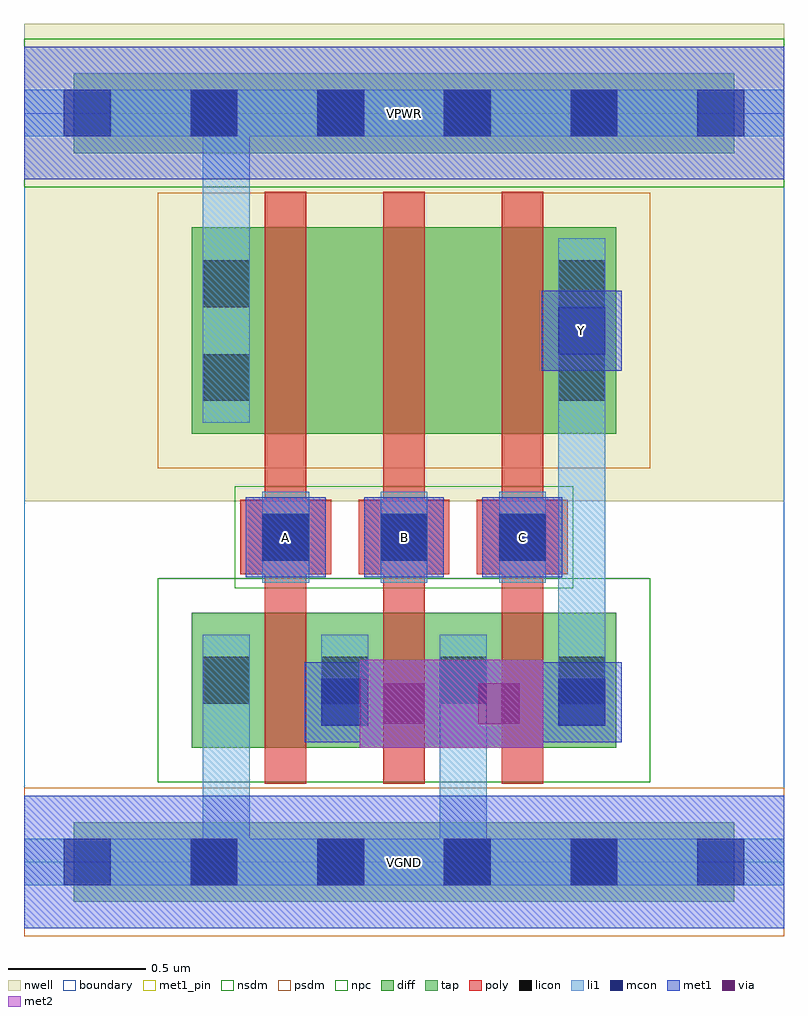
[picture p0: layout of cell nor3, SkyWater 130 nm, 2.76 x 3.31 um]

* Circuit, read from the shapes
.subckt nor3 A B C VGND VPWR Y
XM1 Y A VGND VGND sky130_fd_pr__nfet_01v8 w=0.49 l=0.15
XM2 VGND B Y VGND sky130_fd_pr__nfet_01v8 w=0.49 l=0.15
XM3 Y C VGND VGND sky130_fd_pr__nfet_01v8 w=0.49 l=0.15
XM4 n1 A VPWR VPWR sky130_fd_pr__pfet_01v8 w=0.75 l=0.15
XM5 n2 B n1 VPWR sky130_fd_pr__pfet_01v8 w=0.75 l=0.15
XM6 Y C n2 VPWR sky130_fd_pr__pfet_01v8 w=0.75 l=0.15
.ends

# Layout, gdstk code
import gdstk
lib = gdstk.Library(unit=1e-6, precision=1e-09)
def R(c, l, rs):  # rectangles x0, y0, x1, y1
    for r in rs: c.add(gdstk.rectangle(r[:2], r[2:], *l))
def A(c, l, x, y, w, h, nx, ny, dx, dy):  # array of equal rectangles
    R(c, l, [(x+i*dx, y+j*dy, x+i*dx+w, y+j*dy+h) for i in range(nx) for j in range(ny)])
nwell = (64, 20)
diff = (65, 20)
tap = (65, 44)
poly = (66, 20)
licon = (66, 44)
li1 = (67, 20)
mcon = (67, 44)
met1_pin = (68, 16)
met1 = (68, 20)
via = (68, 44)
met2 = (69, 20)
nsdm = (93, 44)
psdm = (94, 20)
npc = (95, 20)
boundary = (235, 4)

nor3 = lib.new_cell('nor3')
R(nor3, nwell, [(0,1.31,2.76,3.045)])
R(nor3, diff, [(0.61,0.415,2.15,0.905), (0.61,1.555,2.15,2.305)])
R(nor3, tap, [(0.18,-0.145,2.58,0.145), (0.18,2.575,2.58,2.865)])
A(nor3, poly, 0.875, 0.285, 0.15, 2.15, 3, 1, 0.43, 0)
A(nor3, poly, 0.785, 1.045, 0.33, 0.27, 3, 1, 0.43, 0)
A(nor3, licon, 0.605, -0.085, 0.17, 0.17, 4, 2, 0.46, 2.72)
A(nor3, licon, 0.65, 0.575, 0.17, 0.17, 4, 1, 0.43, 0)
A(nor3, licon, 0.865, 1.095, 0.17, 0.17, 3, 1, 0.43, 0)
R(nor3, licon, [(0.65,1.675,0.82,1.845), (1.94,1.675,2.11,1.845), (0.65,2.015,0.82,2.185), (1.94,2.015,2.11,2.185)])
A(nor3, li1, 0.65, 0.495, 0.17, 0.33, 4, 1, 0.43, 0)
A(nor3, li1, 0.865, 1.015, 0.17, 0.33, 3, 1, 0.43, 0)
R(nor3, li1, [(0,-0.085,2.76,0.085), (0.65,-0.085,0.82,0.825), (1.51,-0.085,1.68,0.825), (1.94,0.495,2.11,2.265), (0.65,1.595,0.82,2.265), (0.65,1.595,0.82,2.805), (1.94,1.595,2.11,2.265), (0,2.635,2.76,2.805)])
A(nor3, mcon, 0.145, -0.085, 0.17, 0.17, 6, 2, 0.46, 2.72)
A(nor3, mcon, 0.865, 1.095, 0.17, 0.17, 3, 1, 0.43, 0)
R(nor3, mcon, [(1.08,0.495,1.25,0.665), (1.94,0.495,2.11,0.665), (1.94,1.845,2.11,2.015)])
A(nor3, met1_pin, 0.805, 1.035, 0.29, 0.29, 3, 1, 0.43, 0)
R(nor3, met1_pin, [(0,-0.24,2.76,0.24), (1.88,1.785,2.17,2.075), (0,2.48,2.76,2.96)])
A(nor3, met1, 0.805, 1.035, 0.29, 0.29, 3, 1, 0.43, 0)
R(nor3, met1, [(0,-0.24,2.76,0.24), (1.22,0.415,1.54,0.735), (1.54,0.415,1.565,0.735), (1.54,0.415,1.565,0.735), (1.54,0.415,1.565,0.735), (1.54,0.415,1.565,0.735), (1.54,0.415,1.565,0.735), (1.54,0.415,1.565,0.735), (1.565,0.415,1.885,0.735), (1.02,0.435,1.31,0.725), (1.88,0.435,2.17,0.725), (1.195,0.505,1.45,0.645), (1.195,0.505,1.335,0.65), (1.31,0.505,1.335,0.645), (1.31,0.505,1.335,0.645), (1.31,0.505,1.335,0.645), (1.31,0.505,1.335,0.645), (1.31,0.505,1.335,0.645), (1.31,0.505,1.335,0.645), (1.31,0.505,1.335,0.645), (1.31,0.505,1.335,0.645), (1.335,0.505,1.45,0.645), (1.335,0.505,1.45,0.645), (1.335,0.505,1.45,0.645), (1.335,0.505,1.45,0.645), (1.335,0.505,1.45,0.645), (1.335,0.505,1.45,0.645), (1.335,0.505,1.45,0.645), (1.335,0.505,1.45,0.645), (1.335,0.505,1.45,0.645), (1.335,0.505,1.45,0.645), (1.335,0.505,1.45,0.645), (1.335,0.505,1.45,0.645), (1.335,0.505,1.45,0.645), (1.335,0.505,1.45,0.645), (1.335,0.505,1.45,0.645), (1.335,0.505,1.45,0.645), (1.335,0.505,1.45,0.645), (1.335,0.505,1.45,0.645), (1.335,0.505,1.45,0.645), (1.335,0.505,1.45,0.645), (1.335,0.505,1.45,0.645), (1.335,0.505,1.45,0.645), (1.335,0.505,1.45,0.645), (1.335,0.505,1.45,0.645), (1.335,0.505,1.45,0.645), (1.335,0.505,1.45,0.645), (1.335,0.505,1.45,0.645), (1.335,0.505,1.45,0.645), (1.45,0.505,1.565,0.645), (1.45,0.505,1.565,0.645), (1.45,0.505,1.565,0.645), (1.45,0.505,1.565,0.645), (1.45,0.505,1.565,0.645), (1.45,0.505,1.565,0.645), (1.45,0.505,1.565,0.645), (1.45,0.505,1.565,0.645), (1.45,0.505,1.565,0.645), (1.45,0.505,1.565,0.645), (1.45,0.505,1.565,0.645), (1.45,0.505,1.565,0.645), (1.45,0.505,1.565,0.645), (1.45,0.505,1.565,0.645), (1.45,0.505,1.565,0.645), (1.45,0.505,1.565,0.645), (1.45,0.505,1.565,0.645), (1.45,0.505,1.565,0.645), (1.45,0.505,1.565,0.645), (1.45,0.505,1.565,0.645), (1.45,0.505,1.565,0.645), (1.45,0.505,1.565,0.645), (1.45,0.505,1.565,0.645), (1.45,0.505,1.565,0.645), (1.45,0.505,1.565,0.645), (1.45,0.505,1.565,0.645), (1.45,0.505,1.565,0.645), (1.45,0.505,1.565,0.645), (1.45,0.505,1.565,0.645), (1.45,0.505,1.565,0.645), (1.45,0.505,1.565,0.645), (1.45,0.505,1.565,0.645), (1.45,0.505,1.565,0.645), (1.45,0.505,1.565,0.645), (1.45,0.505,1.565,0.645), (1.45,0.505,1.565,0.645), (1.45,0.505,1.565,0.645), (1.45,0.505,1.565,0.645), (1.45,0.505,1.565,0.645), (1.45,0.505,1.565,0.645), (1.45,0.505,1.565,0.645), (1.45,0.505,1.565,0.645), (1.45,0.505,1.565,0.645), (1.45,0.505,1.565,0.645), (1.45,0.505,1.565,0.645), (1.45,0.505,1.565,0.645), (1.45,0.505,1.565,0.645), (1.45,0.505,1.565,0.645), (1.45,0.505,1.565,0.645), (1.45,0.505,1.565,0.645), (1.45,0.505,1.565,0.645), (1.45,0.505,1.565,0.645), (1.45,0.505,1.565,0.645), (1.45,0.505,1.565,0.645), (1.45,0.505,1.565,0.645), (1.45,0.505,1.565,0.645), (1.45,0.505,1.565,0.645), (1.45,0.505,1.565,0.645), (1.45,0.505,1.565,0.645), (1.45,0.505,1.565,0.645), (1.45,0.505,1.565,0.645), (1.45,0.505,1.565,0.645), (1.45,0.505,1.565,0.645), (1.45,0.505,1.565,0.645), (1.45,0.505,1.565,0.645), (1.45,0.505,1.565,0.645), (1.45,0.505,1.565,0.645), (1.45,0.505,1.565,0.645), (1.45,0.505,1.565,0.645), (1.45,0.505,1.565,0.645), (1.45,0.505,1.565,0.645), (1.45,0.505,1.565,0.645), (1.45,0.505,1.565,0.645), (1.45,0.505,1.565,0.645), (1.45,0.505,1.565,0.645), (1.45,0.505,1.565,0.645), (1.45,0.505,1.565,0.645), (1.45,0.505,1.565,0.645), (1.45,0.505,1.565,0.645), (1.45,0.505,1.565,0.645), (1.45,0.505,1.565,0.645), (1.45,0.505,1.565,0.645), (1.45,0.505,1.565,0.645), (1.45,0.505,1.565,0.645), (1.45,0.505,1.565,0.645), (1.45,0.505,1.565,0.645), (1.45,0.505,1.565,0.645), (1.45,0.505,1.565,0.645), (1.45,0.505,1.565,0.645), (1.45,0.505,1.565,0.645), (1.45,0.505,1.565,0.645), (1.45,0.505,1.565,0.645), (1.45,0.505,1.565,0.645), (1.45,0.505,1.565,0.645), (1.45,0.505,1.54,0.645), (1.45,0.505,1.54,0.645), (1.45,0.505,1.54,0.645), (1.45,0.505,1.54,0.645), (1.45,0.505,1.54,0.645), (1.45,0.505,1.54,0.645), (1.45,0.505,1.54,0.645), (1.45,0.505,1.54,0.645), (1.45,0.505,1.54,0.645), (1.45,0.505,1.54,0.645), (1.45,0.505,1.54,0.645), (1.45,0.505,1.54,0.645), (1.45,0.505,1.54,0.645), (1.45,0.505,1.54,0.645), (1.45,0.505,1.54,0.645), (1.45,0.505,1.54,0.645), (1.45,0.505,1.54,0.645), (1.45,0.505,1.54,0.645), (1.45,0.505,1.54,0.645), (1.45,0.505,1.54,0.645), (1.45,0.505,1.54,0.645), (1.45,0.505,1.54,0.645), (1.45,0.505,1.54,0.645), (1.45,0.505,1.54,0.645), (1.45,0.505,1.54,0.645), (1.45,0.505,1.54,0.645), (1.45,0.505,1.54,0.645), (1.45,0.505,1.54,0.645), (1.45,0.505,1.54,0.645), (1.45,0.505,1.54,0.645), (1.45,0.505,1.54,0.645), (1.45,0.505,1.54,0.645), (1.45,0.505,1.54,0.645), (1.45,0.505,1.54,0.645), (1.45,0.505,1.54,0.645), (1.45,0.505,1.54,0.645), (1.45,0.505,1.54,0.645), (1.45,0.505,1.54,0.645), (1.45,0.505,1.54,0.645), (1.45,0.505,1.54,0.645), (1.45,0.505,1.54,0.645), (1.45,0.505,1.54,0.645), (1.45,0.505,1.54,0.645), (1.45,0.505,1.54,0.645), (1.45,0.505,1.54,0.645), (1.45,0.505,1.54,0.645), (1.45,0.505,1.54,0.645), (1.45,0.505,1.54,0.645), (1.45,0.505,1.54,0.645), (1.45,0.505,1.54,0.645), (1.45,0.505,1.54,0.645), (1.45,0.505,1.54,0.645), (1.45,0.505,1.54,0.645), (1.45,0.505,1.54,0.645), (1.45,0.505,1.54,0.645), (1.45,0.505,1.54,0.645), (1.45,0.505,1.54,0.645), (1.45,0.505,1.54,0.645), (1.45,0.505,1.54,0.645), (1.45,0.505,1.54,0.645), (1.45,0.505,1.54,0.645), (1.45,0.505,1.54,0.645), (1.45,0.505,1.54,0.645), (1.45,0.505,1.54,0.645), (1.45,0.505,1.54,0.645), (1.45,0.505,1.54,0.645), (1.45,0.505,1.54,0.645), (1.45,0.505,1.54,0.645), (1.45,0.505,1.54,0.645), (1.45,0.505,1.54,0.645), (1.45,0.505,1.54,0.645), (1.45,0.505,1.54,0.645), (1.45,0.505,1.54,0.645), (1.45,0.505,1.54,0.645), (1.45,0.505,1.54,0.645), (1.45,0.505,1.54,0.645), (1.45,0.505,1.54,0.645), (1.45,0.505,1.54,0.645), (1.45,0.505,1.54,0.645), (1.45,0.505,1.54,0.645), (1.45,0.505,1.54,0.645), (1.45,0.505,1.54,0.645), (1.45,0.505,1.54,0.645), (1.45,0.505,1.54,0.645), (1.45,0.505,1.54,0.645), (1.45,0.505,1.54,0.645), (1.45,0.505,1.54,0.645), (1.45,0.505,1.54,0.645), (1.54,0.505,1.655,0.645), (1.54,0.505,1.655,0.645), (1.54,0.505,1.655,0.645), (1.54,0.505,1.655,0.645), (1.54,0.505,1.655,0.645), (1.54,0.505,1.655,0.645), (1.54,0.505,1.655,0.645), (1.54,0.505,1.655,0.645), (1.54,0.505,1.655,0.645), (1.54,0.505,1.655,0.645), (1.54,0.505,1.655,0.645), (1.54,0.505,1.655,0.645), (1.54,0.505,1.655,0.645), (1.54,0.505,1.655,0.645), (1.54,0.505,1.655,0.645), (1.54,0.505,1.655,0.645), (1.54,0.505,1.655,0.645), (1.54,0.505,1.655,0.645), (1.54,0.505,1.655,0.645), (1.54,0.505,1.655,0.645), (1.54,0.505,1.655,0.645), (1.54,0.505,1.655,0.645), (1.54,0.505,1.655,0.645), (1.54,0.505,1.655,0.645), (1.54,0.505,1.655,0.645), (1.54,0.505,1.655,0.645), (1.54,0.505,1.655,0.645), (1.54,0.505,1.655,0.645), (1.54,0.505,1.655,0.645), (1.54,0.505,1.655,0.645), (1.54,0.505,1.655,0.645), (1.54,0.505,1.655,0.645), (1.54,0.505,1.655,0.645), (1.54,0.505,1.655,0.645), (1.54,0.505,1.655,0.645), (1.54,0.505,1.655,0.645), (1.54,0.505,1.655,0.645), (1.54,0.505,1.655,0.645), (1.54,0.505,1.655,0.645), (1.54,0.505,1.655,0.645), (1.54,0.505,1.655,0.645), (1.54,0.505,1.655,0.645), (1.54,0.505,1.655,0.645), (1.54,0.505,1.655,0.645), (1.54,0.505,1.655,0.645), (1.54,0.505,1.655,0.645), (1.54,0.505,1.655,0.645), (1.54,0.505,1.655,0.645), (1.54,0.505,1.655,0.645), (1.54,0.505,1.655,0.645), (1.54,0.505,1.655,0.645), (1.54,0.505,1.655,0.645), (1.54,0.505,1.655,0.645), (1.54,0.505,1.655,0.645), (1.54,0.505,1.655,0.645), (1.54,0.505,1.655,0.645), (1.54,0.505,1.655,0.645), (1.54,0.505,1.655,0.645), (1.54,0.505,1.655,0.645), (1.54,0.505,1.655,0.645), (1.54,0.505,1.655,0.645), (1.54,0.505,1.655,0.645), (1.54,0.505,1.655,0.645), (1.54,0.505,1.655,0.645), (1.54,0.505,1.655,0.645), (1.54,0.505,1.655,0.645), (1.54,0.505,1.655,0.645), (1.54,0.505,1.655,0.645), (1.54,0.505,1.655,0.645), (1.54,0.505,1.655,0.645), (1.54,0.505,1.655,0.645), (1.54,0.505,1.655,0.645), (1.54,0.505,1.655,0.645), (1.54,0.505,1.655,0.645), (1.54,0.505,1.655,0.645), (1.54,0.505,1.655,0.645), (1.54,0.505,1.655,0.645), (1.54,0.505,1.655,0.645), (1.54,0.505,1.655,0.645), (1.54,0.505,1.655,0.645), (1.54,0.505,1.655,0.645), (1.54,0.505,1.655,0.645), (1.54,0.505,1.655,0.645), (1.54,0.505,1.655,0.645), (1.54,0.505,1.655,0.645), (1.54,0.505,1.655,0.645), (1.54,0.505,1.655,0.645), (1.54,0.505,1.655,0.645), (1.54,0.505,1.655,0.645), (1.54,0.505,1.655,0.645), (1.54,0.505,1.655,0.645), (1.54,0.505,1.655,0.645), (1.54,0.505,1.655,0.645), (1.54,0.505,1.655,0.645), (1.54,0.505,1.565,0.645), (1.54,0.505,1.565,0.645), (1.54,0.505,1.565,0.645), (1.54,0.505,1.565,0.645), (1.54,0.505,1.565,0.645), (1.54,0.505,1.565,0.645), (1.54,0.505,1.565,0.645), (1.54,0.505,1.565,0.645), (1.54,0.505,1.565,0.645), (1.54,0.505,1.565,0.645), (1.54,0.505,1.565,0.645), (1.54,0.505,1.565,0.645), (1.54,0.505,1.565,0.645), (1.54,0.505,1.565,0.645), (1.54,0.505,1.565,0.645), (1.54,0.505,1.565,0.645), (1.54,0.505,1.565,0.645), (1.54,0.505,1.565,0.645), (1.54,0.505,1.565,0.645), (1.54,0.505,1.565,0.645), (1.54,0.505,1.565,0.645), (1.54,0.505,1.565,0.645), (1.54,0.505,1.565,0.645), (1.54,0.505,1.565,0.645), (1.54,0.505,1.565,0.645), (1.54,0.505,1.565,0.645), (1.54,0.505,1.565,0.645), (1.54,0.505,1.565,0.645), (1.54,0.505,1.565,0.645), (1.54,0.505,1.565,0.645), (1.54,0.505,1.565,0.645), (1.54,0.505,1.565,0.645), (1.54,0.505,1.565,0.645), (1.54,0.505,1.565,0.645), (1.54,0.505,1.565,0.645), (1.54,0.505,1.565,0.645), (1.54,0.505,1.565,0.645), (1.54,0.505,1.565,0.645), (1.54,0.505,1.565,0.645), (1.54,0.505,1.565,0.645), (1.54,0.505,1.565,0.645), (1.54,0.505,1.565,0.645), (1.54,0.505,1.565,0.645), (1.54,0.505,1.565,0.645), (1.54,0.505,1.565,0.645), (1.54,0.505,1.565,0.645), (1.54,0.505,1.565,0.645), (1.54,0.505,1.565,0.645), (1.54,0.505,1.565,0.645), (1.54,0.505,1.565,0.645), (1.54,0.505,1.565,0.645), (1.54,0.505,1.565,0.645), (1.54,0.505,1.565,0.645), (1.54,0.505,1.565,0.645), (1.54,0.505,1.565,0.645), (1.54,0.505,1.565,0.645), (1.54,0.505,1.565,0.645), (1.54,0.505,1.565,0.645), (1.54,0.505,1.565,0.645), (1.54,0.505,1.565,0.645), (1.54,0.505,1.565,0.645), (1.54,0.505,1.565,0.645), (1.54,0.505,1.565,0.645), (1.54,0.505,1.565,0.645), (1.54,0.505,1.565,0.645), (1.54,0.505,1.565,0.645), (1.54,0.505,1.565,0.645), (1.54,0.505,1.565,0.645), (1.54,0.505,1.565,0.645), (1.54,0.505,1.565,0.645), (1.54,0.505,1.565,0.645), (1.54,0.505,1.565,0.645), (1.54,0.505,1.565,0.645), (1.54,0.505,1.565,0.645), (1.54,0.505,1.565,0.645), (1.54,0.505,1.565,0.645), (1.54,0.505,1.565,0.645), (1.54,0.505,1.565,0.645), (1.54,0.505,1.565,0.645), (1.54,0.505,1.565,0.645), (1.54,0.505,1.565,0.645), (1.54,0.505,1.565,0.645), (1.54,0.505,1.565,0.645), (1.54,0.505,1.565,0.645), (1.54,0.505,1.565,0.645), (1.54,0.505,1.565,0.645), (1.54,0.505,1.565,0.645), (1.54,0.505,1.565,0.645), (1.54,0.505,1.565,0.645), (1.54,0.505,1.565,0.645), (1.54,0.505,1.565,0.645), (1.54,0.505,1.565,0.645), (1.54,0.505,1.565,0.645), (1.54,0.505,1.565,0.645), (1.54,0.505,1.565,0.645), (1.54,0.505,1.565,0.645), (1.54,0.505,1.565,0.645), (1.54,0.505,1.565,0.645), (1.54,0.505,1.565,0.645), (1.54,0.505,1.565,0.645), (1.54,0.505,1.565,0.645), (1.54,0.505,1.565,0.645), (1.54,0.505,1.565,0.645), (1.54,0.505,1.565,0.645), (1.54,0.505,1.565,0.645), (1.54,0.505,1.565,0.645), (1.54,0.505,1.565,0.645), (1.54,0.505,1.565,0.645), (1.54,0.505,1.565,0.645), (1.54,0.505,1.565,0.645), (1.54,0.505,1.565,0.645), (1.54,0.505,1.565,0.645), (1.54,0.505,1.565,0.645), (1.54,0.505,1.565,0.645), (1.54,0.505,1.565,0.645), (1.54,0.505,1.565,0.645), (1.54,0.505,1.565,0.645), (1.54,0.505,1.565,0.645), (1.54,0.505,1.565,0.645), (1.54,0.505,1.565,0.645), (1.54,0.505,1.565,0.645), (1.54,0.505,1.565,0.645), (1.54,0.505,1.565,0.645), (1.54,0.505,1.565,0.645), (1.54,0.505,1.565,0.645), (1.54,0.505,1.565,0.645), (1.54,0.505,1.565,0.645), (1.54,0.505,1.565,0.645), (1.54,0.505,1.565,0.645), (1.54,0.505,1.565,0.645), (1.54,0.505,1.565,0.645), (1.54,0.505,1.565,0.645), (1.54,0.505,1.565,0.645), (1.54,0.505,1.565,0.645), (1.54,0.505,1.565,0.645), (1.54,0.505,1.565,0.645), (1.54,0.505,1.565,0.645), (1.54,0.505,1.565,0.645), (1.54,0.505,1.565,0.645), (1.54,0.505,1.565,0.645), (1.54,0.505,1.565,0.645), (1.54,0.505,1.565,0.645), (1.54,0.505,1.565,0.645), (1.54,0.505,1.565,0.645), (1.54,0.505,1.565,0.645), (1.54,0.505,1.565,0.645), (1.54,0.505,1.565,0.645), (1.54,0.505,1.565,0.645), (1.54,0.505,1.565,0.645), (1.54,0.505,1.565,0.645), (1.54,0.505,1.565,0.645), (1.54,0.505,1.565,0.645), (1.54,0.505,1.565,0.645), (1.54,0.505,1.565,0.645), (1.54,0.505,1.565,0.645), (1.54,0.505,1.565,0.645), (1.54,0.505,1.565,0.645), (1.54,0.505,1.565,0.645), (1.54,0.505,1.565,0.645), (1.54,0.505,1.565,0.645), (1.565,0.505,1.655,0.645), (1.565,0.505,1.655,0.645), (1.565,0.505,1.655,0.645), (1.565,0.505,1.655,0.645), (1.565,0.505,1.655,0.645), (1.565,0.505,1.655,0.645), (1.565,0.505,1.655,0.645), (1.565,0.505,1.655,0.645), (1.565,0.505,1.655,0.645), (1.565,0.505,1.655,0.645), (1.565,0.505,1.655,0.645), (1.565,0.505,1.655,0.645), (1.565,0.505,1.655,0.645), (1.565,0.505,1.655,0.645), (1.565,0.505,1.655,0.645), (1.565,0.505,1.655,0.645), (1.565,0.505,1.655,0.645), (1.565,0.505,1.655,0.645), (1.565,0.505,1.655,0.645), (1.565,0.505,1.655,0.645), (1.565,0.505,1.655,0.645), (1.565,0.505,1.655,0.645), (1.565,0.505,1.655,0.645), (1.565,0.505,1.655,0.645), (1.565,0.505,1.655,0.645), (1.565,0.505,1.655,0.645), (1.565,0.505,1.655,0.645), (1.565,0.505,1.655,0.645), (1.565,0.505,1.655,0.645), (1.565,0.505,1.655,0.645), (1.565,0.505,1.655,0.645), (1.565,0.505,1.655,0.645), (1.565,0.505,1.655,0.645), (1.565,0.505,1.655,0.645), (1.565,0.505,1.655,0.645), (1.565,0.505,1.655,0.645), (1.565,0.505,1.655,0.645), (1.565,0.505,1.655,0.645), (1.565,0.505,1.655,0.645), (1.565,0.505,1.655,0.645), (1.565,0.505,1.655,0.645), (1.565,0.505,1.655,0.645), (1.565,0.505,1.655,0.645), (1.565,0.505,1.655,0.645), (1.565,0.505,1.655,0.645), (1.565,0.505,1.655,0.645), (1.565,0.505,1.655,0.645), (1.565,0.505,1.655,0.645), (1.565,0.505,1.655,0.645), (1.565,0.505,1.655,0.645), (1.565,0.505,1.655,0.645), (1.565,0.505,1.655,0.645), (1.565,0.505,1.655,0.645), (1.565,0.505,1.655,0.645), (1.565,0.505,1.655,0.645), (1.565,0.505,1.655,0.645), (1.565,0.505,1.655,0.645), (1.565,0.505,1.655,0.645), (1.565,0.505,1.655,0.645), (1.565,0.505,1.655,0.645), (1.565,0.505,1.655,0.645), (1.565,0.505,1.655,0.645), (1.565,0.505,1.655,0.645), (1.565,0.505,1.655,0.645), (1.565,0.505,1.655,0.645), (1.565,0.505,1.655,0.645), (1.565,0.505,1.655,0.645), (1.565,0.505,1.655,0.645), (1.565,0.505,1.655,0.645), (1.565,0.505,1.655,0.645), (1.565,0.505,1.655,0.645), (1.565,0.505,1.655,0.645), (1.565,0.505,1.655,0.645), (1.565,0.505,1.655,0.645), (1.565,0.505,1.655,0.645), (1.565,0.505,1.655,0.645), (1.565,0.505,1.655,0.645), (1.565,0.505,1.655,0.645), (1.565,0.505,1.655,0.645), (1.565,0.505,1.655,0.645), (1.565,0.505,1.655,0.645), (1.565,0.505,1.655,0.645), (1.565,0.505,1.655,0.645), (1.565,0.505,1.655,0.645), (1.565,0.505,1.655,0.645), (1.565,0.505,1.655,0.645), (1.565,0.505,1.655,0.645), (1.565,0.505,1.655,0.645), (1.655,0.505,1.91,0.645), (1.655,0.505,1.77,0.645), (1.655,0.505,1.77,0.645), (1.655,0.505,1.77,0.645), (1.655,0.505,1.77,0.645), (1.655,0.505,1.77,0.645), (1.655,0.505,1.77,0.645), (1.655,0.505,1.77,0.645), (1.655,0.505,1.77,0.645), (1.655,0.505,1.77,0.645), (1.655,0.505,1.77,0.645), (1.655,0.505,1.77,0.645), (1.655,0.505,1.77,0.645), (1.655,0.505,1.77,0.645), (1.655,0.505,1.77,0.645), (1.655,0.505,1.77,0.645), (1.655,0.505,1.77,0.645), (1.655,0.505,1.77,0.645), (1.655,0.505,1.77,0.645), (1.655,0.505,1.77,0.645), (1.655,0.505,1.77,0.645), (1.655,0.505,1.77,0.645), (1.655,0.505,1.77,0.645), (1.655,0.505,1.77,0.645), (1.655,0.505,1.77,0.645), (1.655,0.505,1.77,0.645), (1.655,0.505,1.77,0.645), (1.655,0.505,1.77,0.645), (1.655,0.505,1.77,0.645), (1.77,0.505,1.91,0.65), (1.77,0.505,1.88,0.645), (1.77,0.505,1.88,0.645), (1.77,0.505,1.88,0.645), (1.77,0.505,1.88,0.645), (1.77,0.505,1.88,0.645), (1.77,0.505,1.88,0.645), (1.77,0.505,1.88,0.645), (1.77,0.505,1.88,0.645), (1.095,0.51,1.335,0.65), (1.31,0.51,1.335,0.645), (1.31,0.51,1.335,0.645), (1.31,0.51,1.335,0.645), (1.31,0.51,1.335,0.645), (1.31,0.51,1.335,0.645), (1.31,0.51,1.335,0.645), (1.31,0.51,1.335,0.645), (1.31,0.51,1.335,0.645), (1.335,0.51,1.45,0.645), (1.335,0.51,1.45,0.645), (1.335,0.51,1.45,0.645), (1.335,0.51,1.45,0.645), (1.335,0.51,1.45,0.645), (1.335,0.51,1.45,0.645), (1.335,0.51,1.45,0.645), (1.335,0.51,1.45,0.645), (1.335,0.51,1.45,0.645), (1.335,0.51,1.45,0.645), (1.335,0.51,1.45,0.645), (1.335,0.51,1.45,0.645), (1.335,0.51,1.45,0.645), (1.335,0.51,1.45,0.645), (1.335,0.51,1.45,0.645), (1.335,0.51,1.45,0.645), (1.335,0.51,1.45,0.645), (1.335,0.51,1.45,0.645), (1.335,0.51,1.45,0.645), (1.335,0.51,1.45,0.645), (1.335,0.51,1.45,0.645), (1.335,0.51,1.45,0.645), (1.335,0.51,1.45,0.645), (1.335,0.51,1.45,0.645), (1.335,0.51,1.45,0.645), (1.335,0.51,1.45,0.645), (1.335,0.51,1.45,0.645), (1.335,0.51,1.45,0.645), (1.45,0.51,1.565,0.645), (1.45,0.51,1.565,0.645), (1.45,0.51,1.565,0.645), (1.45,0.51,1.565,0.645), (1.45,0.51,1.565,0.645), (1.45,0.51,1.565,0.645), (1.45,0.51,1.565,0.645), (1.45,0.51,1.565,0.645), (1.45,0.51,1.565,0.645), (1.45,0.51,1.565,0.645), (1.45,0.51,1.565,0.645), (1.45,0.51,1.565,0.645), (1.45,0.51,1.565,0.645), (1.45,0.51,1.565,0.645), (1.45,0.51,1.565,0.645), (1.45,0.51,1.565,0.645), (1.45,0.51,1.565,0.645), (1.45,0.51,1.565,0.645), (1.45,0.51,1.565,0.645), (1.45,0.51,1.565,0.645), (1.45,0.51,1.565,0.645), (1.45,0.51,1.565,0.645), (1.45,0.51,1.565,0.645), (1.45,0.51,1.565,0.645), (1.45,0.51,1.565,0.645), (1.45,0.51,1.565,0.645), (1.45,0.51,1.565,0.645), (1.45,0.51,1.565,0.645), (1.45,0.51,1.565,0.645), (1.45,0.51,1.565,0.645), (1.45,0.51,1.565,0.645), (1.45,0.51,1.565,0.645), (1.45,0.51,1.565,0.645), (1.45,0.51,1.565,0.645), (1.45,0.51,1.565,0.645), (1.45,0.51,1.565,0.645), (1.45,0.51,1.565,0.645), (1.45,0.51,1.565,0.645), (1.45,0.51,1.565,0.645), (1.45,0.51,1.565,0.645), (1.45,0.51,1.565,0.645), (1.45,0.51,1.565,0.645), (1.45,0.51,1.565,0.645), (1.45,0.51,1.565,0.645), (1.45,0.51,1.565,0.645), (1.45,0.51,1.565,0.645), (1.45,0.51,1.565,0.645), (1.45,0.51,1.565,0.645), (1.45,0.51,1.565,0.645), (1.45,0.51,1.565,0.645), (1.45,0.51,1.565,0.645), (1.45,0.51,1.565,0.645), (1.45,0.51,1.565,0.645), (1.45,0.51,1.565,0.645), (1.45,0.51,1.565,0.645), (1.45,0.51,1.565,0.645), (1.45,0.51,1.565,0.645), (1.45,0.51,1.565,0.645), (1.45,0.51,1.565,0.645), (1.45,0.51,1.565,0.645), (1.45,0.51,1.565,0.645), (1.45,0.51,1.565,0.645), (1.45,0.51,1.565,0.645), (1.45,0.51,1.565,0.645), (1.45,0.51,1.565,0.645), (1.45,0.51,1.565,0.645), (1.45,0.51,1.565,0.645), (1.45,0.51,1.565,0.645), (1.45,0.51,1.565,0.645), (1.45,0.51,1.565,0.645), (1.45,0.51,1.565,0.645), (1.45,0.51,1.565,0.645), (1.45,0.51,1.54,0.645), (1.45,0.51,1.54,0.645), (1.45,0.51,1.54,0.645), (1.45,0.51,1.54,0.645), (1.45,0.51,1.54,0.645), (1.45,0.51,1.54,0.645), (1.45,0.51,1.54,0.645), (1.45,0.51,1.54,0.645), (1.45,0.51,1.54,0.645), (1.45,0.51,1.54,0.645), (1.45,0.51,1.54,0.645), (1.45,0.51,1.54,0.645), (1.45,0.51,1.54,0.645), (1.45,0.51,1.54,0.645), (1.45,0.51,1.54,0.645), (1.45,0.51,1.54,0.645), (1.45,0.51,1.54,0.645), (1.45,0.51,1.54,0.645), (1.45,0.51,1.54,0.645), (1.45,0.51,1.54,0.645), (1.45,0.51,1.54,0.645), (1.45,0.51,1.54,0.645), (1.45,0.51,1.54,0.645), (1.45,0.51,1.54,0.645), (1.45,0.51,1.54,0.645), (1.45,0.51,1.54,0.645), (1.45,0.51,1.54,0.645), (1.45,0.51,1.54,0.645), (1.45,0.51,1.54,0.645), (1.45,0.51,1.54,0.645), (1.45,0.51,1.54,0.645), (1.45,0.51,1.54,0.645), (1.45,0.51,1.54,0.645), (1.45,0.51,1.54,0.645), (1.45,0.51,1.54,0.645), (1.45,0.51,1.54,0.645), (1.45,0.51,1.54,0.645), (1.45,0.51,1.54,0.645), (1.45,0.51,1.54,0.645), (1.45,0.51,1.54,0.645), (1.45,0.51,1.54,0.645), (1.45,0.51,1.54,0.645), (1.45,0.51,1.54,0.645), (1.45,0.51,1.54,0.645), (1.45,0.51,1.54,0.645), (1.45,0.51,1.54,0.645), (1.45,0.51,1.54,0.645), (1.45,0.51,1.54,0.645), (1.45,0.51,1.54,0.645), (1.45,0.51,1.54,0.645), (1.45,0.51,1.54,0.645), (1.45,0.51,1.54,0.645), (1.45,0.51,1.54,0.645), (1.45,0.51,1.54,0.645), (1.45,0.51,1.54,0.645), (1.45,0.51,1.54,0.645), (1.45,0.51,1.54,0.645), (1.45,0.51,1.54,0.645), (1.45,0.51,1.54,0.645), (1.45,0.51,1.54,0.645), (1.45,0.51,1.54,0.645), (1.45,0.51,1.54,0.645), (1.45,0.51,1.54,0.645), (1.45,0.51,1.54,0.645), (1.54,0.51,1.655,0.645), (1.54,0.51,1.655,0.645), (1.54,0.51,1.655,0.645), (1.54,0.51,1.655,0.645), (1.54,0.51,1.655,0.645), (1.54,0.51,1.655,0.645), (1.54,0.51,1.655,0.645), (1.54,0.51,1.655,0.645), (1.54,0.51,1.655,0.645), (1.54,0.51,1.655,0.645), (1.54,0.51,1.655,0.645), (1.54,0.51,1.655,0.645), (1.54,0.51,1.655,0.645), (1.54,0.51,1.655,0.645), (1.54,0.51,1.655,0.645), (1.54,0.51,1.655,0.645), (1.54,0.51,1.655,0.645), (1.54,0.51,1.655,0.645), (1.54,0.51,1.655,0.645), (1.54,0.51,1.655,0.645), (1.54,0.51,1.655,0.645), (1.54,0.51,1.655,0.645), (1.54,0.51,1.655,0.645), (1.54,0.51,1.655,0.645), (1.54,0.51,1.655,0.645), (1.54,0.51,1.655,0.645), (1.54,0.51,1.655,0.645), (1.54,0.51,1.655,0.645), (1.54,0.51,1.655,0.645), (1.54,0.51,1.655,0.645), (1.54,0.51,1.655,0.645), (1.54,0.51,1.655,0.645), (1.54,0.51,1.655,0.645), (1.54,0.51,1.655,0.645), (1.54,0.51,1.655,0.645), (1.54,0.51,1.655,0.645), (1.54,0.51,1.655,0.645), (1.54,0.51,1.655,0.645), (1.54,0.51,1.655,0.645), (1.54,0.51,1.655,0.645), (1.54,0.51,1.655,0.645), (1.54,0.51,1.655,0.645), (1.54,0.51,1.655,0.645), (1.54,0.51,1.655,0.645), (1.54,0.51,1.655,0.645), (1.54,0.51,1.655,0.645), (1.54,0.51,1.655,0.645), (1.54,0.51,1.655,0.645), (1.54,0.51,1.655,0.645), (1.54,0.51,1.655,0.645), (1.54,0.51,1.655,0.645), (1.54,0.51,1.655,0.645), (1.54,0.51,1.655,0.645), (1.54,0.51,1.655,0.645), (1.54,0.51,1.655,0.645), (1.54,0.51,1.655,0.645), (1.54,0.51,1.655,0.645), (1.54,0.51,1.655,0.645), (1.54,0.51,1.655,0.645), (1.54,0.51,1.655,0.645), (1.54,0.51,1.655,0.645), (1.54,0.51,1.655,0.645), (1.54,0.51,1.655,0.645), (1.54,0.51,1.655,0.645), (1.54,0.51,1.655,0.645), (1.54,0.51,1.655,0.645), (1.54,0.51,1.655,0.645), (1.54,0.51,1.655,0.645), (1.54,0.51,1.655,0.645), (1.54,0.51,1.655,0.645), (1.54,0.51,1.655,0.645), (1.54,0.51,1.655,0.645), (1.565,0.51,1.655,0.645), (1.565,0.51,1.655,0.645), (1.565,0.51,1.655,0.645), (1.565,0.51,1.655,0.645), (1.565,0.51,1.655,0.645), (1.565,0.51,1.655,0.645), (1.565,0.51,1.655,0.645), (1.565,0.51,1.655,0.645), (1.565,0.51,1.655,0.645), (1.565,0.51,1.655,0.645), (1.565,0.51,1.655,0.645), (1.565,0.51,1.655,0.645), (1.565,0.51,1.655,0.645), (1.565,0.51,1.655,0.645), (1.565,0.51,1.655,0.645), (1.565,0.51,1.655,0.645), (1.565,0.51,1.655,0.645), (1.565,0.51,1.655,0.645), (1.565,0.51,1.655,0.645), (1.565,0.51,1.655,0.645), (1.565,0.51,1.655,0.645), (1.565,0.51,1.655,0.645), (1.565,0.51,1.655,0.645), (1.565,0.51,1.655,0.645), (1.565,0.51,1.655,0.645), (1.565,0.51,1.655,0.645), (1.565,0.51,1.655,0.645), (1.565,0.51,1.655,0.645), (1.565,0.51,1.655,0.645), (1.565,0.51,1.655,0.645), (1.565,0.51,1.655,0.645), (1.565,0.51,1.655,0.645), (1.565,0.51,1.655,0.645), (1.565,0.51,1.655,0.645), (1.565,0.51,1.655,0.645), (1.565,0.51,1.655,0.645), (1.565,0.51,1.655,0.645), (1.565,0.51,1.655,0.645), (1.565,0.51,1.655,0.645), (1.565,0.51,1.655,0.645), (1.565,0.51,1.655,0.645), (1.565,0.51,1.655,0.645), (1.565,0.51,1.655,0.645), (1.565,0.51,1.655,0.645), (1.565,0.51,1.655,0.645), (1.565,0.51,1.655,0.645), (1.565,0.51,1.655,0.645), (1.565,0.51,1.655,0.645), (1.565,0.51,1.655,0.645), (1.565,0.51,1.655,0.645), (1.565,0.51,1.655,0.645), (1.565,0.51,1.655,0.645), (1.565,0.51,1.655,0.645), (1.565,0.51,1.655,0.645), (1.565,0.51,1.655,0.645), (1.565,0.51,1.655,0.645), (1.565,0.51,1.655,0.645), (1.565,0.51,1.655,0.645), (1.565,0.51,1.655,0.645), (1.565,0.51,1.655,0.645), (1.565,0.51,1.655,0.645), (1.565,0.51,1.655,0.645), (1.565,0.51,1.655,0.645), (1.565,0.51,1.655,0.645), (1.655,0.51,1.77,0.645), (1.655,0.51,1.77,0.645), (1.655,0.51,1.77,0.645), (1.655,0.51,1.77,0.645), (1.655,0.51,1.77,0.645), (1.655,0.51,1.77,0.645), (1.655,0.51,1.77,0.645), (1.655,0.51,1.77,0.645), (1.655,0.51,1.77,0.645), (1.655,0.51,1.77,0.645), (1.655,0.51,1.77,0.645), (1.655,0.51,1.77,0.645), (1.655,0.51,1.77,0.645), (1.655,0.51,1.77,0.645), (1.655,0.51,1.77,0.645), (1.655,0.51,1.77,0.645), (1.655,0.51,1.77,0.645), (1.655,0.51,1.77,0.645), (1.655,0.51,1.77,0.645), (1.655,0.51,1.77,0.645), (1.655,0.51,1.77,0.645), (1.655,0.51,1.77,0.645), (1.655,0.51,1.77,0.645), (1.655,0.51,1.77,0.645), (1.655,0.51,1.77,0.645), (1.655,0.51,1.77,0.645), (1.655,0.51,1.77,0.645), (1.655,0.51,1.77,0.645), (1.77,0.51,1.88,0.645), (1.77,0.51,1.88,0.645), (1.77,0.51,1.88,0.645), (1.77,0.51,1.88,0.645), (1.77,0.51,1.88,0.645), (1.77,0.51,1.88,0.645), (1.77,0.51,1.88,0.645), (1.77,0.51,1.88,0.645), (1.77,0.51,2.095,0.65), (1.88,1.785,2.17,2.075), (0,2.48,2.76,2.96)])
R(nor3, via, [(1.305,0.5,1.455,0.65), (1.65,0.5,1.8,0.65)])
R(nor3, met2, [(1.22,0.415,1.54,0.735), (1.54,0.415,1.565,0.735), (1.54,0.415,1.565,0.735), (1.54,0.415,1.565,0.735), (1.54,0.415,1.565,0.735), (1.54,0.415,1.565,0.735), (1.54,0.415,1.565,0.735), (1.565,0.415,1.885,0.735), (1.31,0.505,1.795,0.645)])
R(nor3, nsdm, [(0.485,0.29,2.275,1.03), (0,2.45,2.76,2.99)])
R(nor3, psdm, [(0,-0.27,2.76,0.27), (0.485,1.43,2.275,2.43)])
R(nor3, npc, [(0.765,0.995,1.995,1.365)])
R(nor3, boundary, [(0,0,2.76,2.72)])
nor3.add(gdstk.Label('A', (0.95,1.18), layer=68, texttype=5))
nor3.add(gdstk.Label('B', (1.38,1.18), layer=68, texttype=5))
nor3.add(gdstk.Label('C', (1.81,1.18), layer=68, texttype=5))
nor3.add(gdstk.Label('Y', (2.025,1.93), layer=68, texttype=5))
nor3.add(gdstk.Label('VPWR', (1.38,2.72), layer=68, texttype=5))
nor3.add(gdstk.Label('VGND', (1.38,0), layer=68, texttype=5))
nor3.add(gdstk.Label('A', (0.95,1.18), layer=68, texttype=16))
nor3.add(gdstk.Label('B', (1.38,1.18), layer=68, texttype=16))
nor3.add(gdstk.Label('C', (1.81,1.18), layer=68, texttype=16))
nor3.add(gdstk.Label('Y', (2.025,1.93), layer=68, texttype=16))
nor3.add(gdstk.Label('VPWR', (1.38,2.72), layer=68, texttype=16))
nor3.add(gdstk.Label('VGND', (1.38,0), layer=68, texttype=16))

lib.write_gds('nor3.gds')
